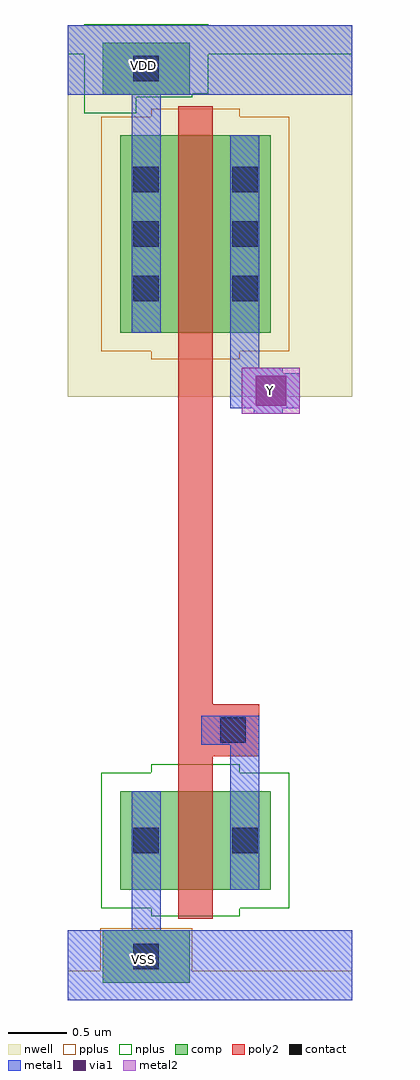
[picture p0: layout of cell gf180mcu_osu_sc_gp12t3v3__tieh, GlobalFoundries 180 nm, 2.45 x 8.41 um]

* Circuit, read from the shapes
.subckt gf180mcu_osu_sc_gp12t3v3__tieh VDD VSS Y
XM1 n1 n1 VSS VSS nfet_03v3 w=0.85u l=0.3u
XM2 Y n1 VDD VDD pfet_03v3 w=1.7u l=0.3u
.ends

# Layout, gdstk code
import gdstk
lib = gdstk.Library(unit=1e-6, precision=1e-09)
def R(c, l, rs):  # rectangles x0, y0, x1, y1
    for r in rs: c.add(gdstk.rectangle(r[:2], r[2:], *l))
def A(c, l, x, y, w, h, nx, ny, dx, dy):  # array of equal rectangles
    R(c, l, [(x+i*dx, y+j*dy, x+i*dx+w, y+j*dy+h) for i in range(nx) for j in range(ny)])
nwell = (21, 0)
comp = (22, 0)
poly2 = (30, 0)
pplus = (31, 0)
nplus = (32, 0)
contact = (33, 0)
metal1 = (34, 0)
via1 = (35, 0)
metal2 = (36, 0)

gf180mcu_osu_sc_gp12t3v3 = lib.new_cell('gf180mcu_osu_sc_gp12t3v3__tieh')
R(gf180mcu_osu_sc_gp12t3v3, nwell, [(0,5.2,2.45,8.4)])
R(gf180mcu_osu_sc_gp12t3v3, comp, [(0.3,0.15,1.05,0.6), (0.45,0.95,1.75,1.8), (0.45,5.75,1.75,7.45), (0.3,7.8,1.05,8.25)])
R(gf180mcu_osu_sc_gp12t3v3, poly2, [(0.95,0.7,1.25,2.1), (0.95,2.1,1.65,2.55), (0.95,2.55,1.25,7.7)])
R(gf180mcu_osu_sc_gp12t3v3, pplus, [(0,0,2.45,0.25), (0.28,0.13,1.07,0.62), (0.72,5.52,1.48,5.59), (0.29,5.59,1.91,7.61), (0.72,7.61,1.48,7.68)])
R(gf180mcu_osu_sc_gp12t3v3, nplus, [(0.72,0.72,1.48,0.79), (0.29,0.79,1.91,1.96), (0.72,1.96,1.48,2.03), (0.14,7.64,0.59,7.78), (0.14,7.78,1.07,7.81), (0.14,7.81,1.21,8.15), (0,8.15,2.45,8.4), (0,8.15,2.45,8.4), (0.14,8.4,1.21,8.41)])
A(gf180mcu_osu_sc_gp12t3v3, contact, 0.565, 6.02, 0.22, 0.22, 1, 3, 0, 0.47)
A(gf180mcu_osu_sc_gp12t3v3, contact, 1.415, 6.02, 0.22, 0.22, 1, 3, 0, 0.47)
R(gf180mcu_osu_sc_gp12t3v3, contact, [(0.565,0.265,0.785,0.485), (0.565,1.265,0.785,1.485), (1.415,1.265,1.635,1.485), (1.315,2.215,1.535,2.435), (0.565,7.915,0.785,8.135)])
R(gf180mcu_osu_sc_gp12t3v3, metal1, [(0,0,2.45,0.6), (0.55,0.6,0.8,1.8), (1.4,0.95,1.65,2.2), (1.15,2.2,1.65,2.45), (1.6,5.05,1.85,5.1), (1.4,5.1,2,5.4), (1.4,5.4,1.85,5.45), (1.4,5.45,1.65,7.45), (0.55,5.75,0.8,7.8), (0,7.8,2.45,8.4)])
R(gf180mcu_osu_sc_gp12t3v3, via1, [(1.62,5.12,1.88,5.38)])
R(gf180mcu_osu_sc_gp12t3v3, metal2, [(1.5,5.05,2,5.45)])
gf180mcu_osu_sc_gp12t3v3.add(gdstk.Label('Y', (1.75,5.25), layer=36, texttype=10))
gf180mcu_osu_sc_gp12t3v3.add(gdstk.Label('VDD', (0.65,8.05), layer=34, texttype=10))
gf180mcu_osu_sc_gp12t3v3.add(gdstk.Label('VSS', (0.65,0.35), layer=34, texttype=10))

lib.write_gds('gf180mcu_osu_sc_gp12t3v3__tieh.gds')
